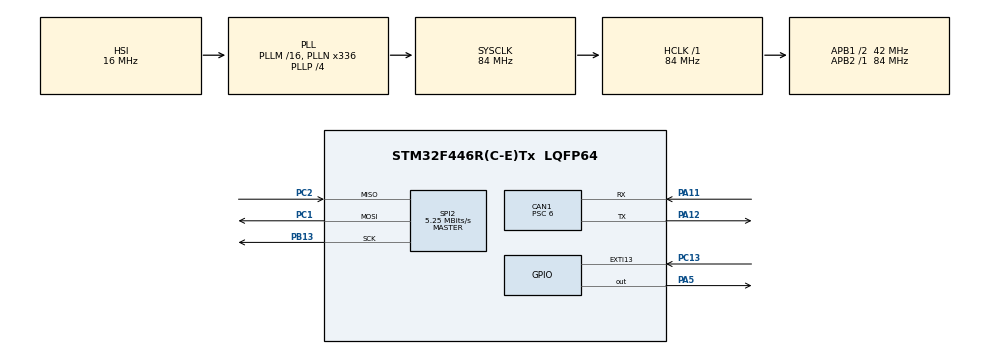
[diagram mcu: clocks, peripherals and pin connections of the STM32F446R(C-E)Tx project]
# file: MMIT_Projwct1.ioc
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CAN1.BS1=CAN_BS1_11TQ
CAN1.BS2=CAN_BS2_2TQ
CAN1.CalculateBaudRate=500000
CAN1.CalculateTimeBit=2000
CAN1.CalculateTimeQuantum=142.85714285714286
CAN1.NART=ENABLE
CAN1.Prescaler=6
Mcu.Family=STM32F4
Mcu.Name=STM32F446R(C-E)Tx
Mcu.Package=LQFP64
NUCLEO-F446RE.BUTTON=1
NUCLEO-F446RE.LD1=true
NVIC.CAN1_RX0_IRQn=true\:0\:0\:false\:false\:true\:true\:true\:true
NVIC.EXTI15_10_IRQn=true\:0\:0\:false\:false\:true\:false\:true\:true
NVIC.PriorityGroup=NVIC_PRIORITYGROUP_0
PA11.Mode=CAN_Activate
PA11.Signal=CAN1_RX
PA12.Mode=CAN_Activate
PA12.Signal=CAN1_TX
PA13.GPIO_Label=TMS
PA13.Signal=SYS_JTMS-SWDIO
PA14.GPIO_Label=TCK
PA14.Signal=SYS_JTCK-SWCLK
PA2.GPIO_Label=USART_TX
PA2.Signal=USART2_TX
PA3.GPIO_Label=USART_RX
PA3.Signal=USART2_RX
PA5.Signal=GPIO_Output
PB13.Mode=Full_Duplex_Master
PB13.Signal=SPI2_SCK
PB3.GPIO_Label=SWO
PB3.Signal=SYS_JTDO-SWO
PC1.Mode=Full_Duplex_Master
PC1.Signal=SPI2_MOSI
PC13.Signal=GPXTI13
PC14-OSC32_IN.Signal=RCC_OSC32_IN
PC15-OSC32_OUT.Signal=RCC_OSC32_OUT
PC2.Mode=Full_Duplex_Master
PC2.Signal=SPI2_MISO
PH0-OSC_IN.Signal=RCC_OSC_IN
PH1-OSC_OUT.Signal=RCC_OSC_OUT
ProjectManager.HeapSize=0x200
ProjectManager.StackSize=0x400
ProjectManager.TargetToolchain=STM32CubeIDE
RCC.AHBFreq_Value=84000000
RCC.APB1CLKDivider=RCC_HCLK_DIV2
RCC.APB1Freq_Value=42000000
RCC.APB1TimFreq_Value=84000000
RCC.APB2Freq_Value=84000000
RCC.APB2TimFreq_Value=84000000
RCC.CortexFreq_Value=84000000
RCC.FLatency-AdvancedSettings=FLASH_LATENCY_2
RCC.HCLKFreq_Value=84000000
RCC.HSE_VALUE=8000000
RCC.HSI_VALUE=16000000
RCC.LSE_VALUE=32768
RCC.PLLN=336
RCC.PLLP=RCC_PLLP_DIV4
RCC.SYSCLKFreq_VALUE=84000000
RCC.SYSCLKSource=RCC_SYSCLKSOURCE_PLLCLK
RCC.USBFreq_Value=168000000
RCC.VCOOutputFreq_Value=336000000
SPI2.BaudRatePrescaler=SPI_BAUDRATEPRESCALER_8
SPI2.CalculateBaudRate=5.25 MBits/s
SPI2.Direction=SPI_DIRECTION_2LINES
SPI2.Mode=SPI_MODE_MASTER
SPI2.VirtualType=VM_MASTER
VP_NUCLEO-F446RE_VS_BSP_COMMON.Mode=COMMON
board=NUCLEO-F446RE

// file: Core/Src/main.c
/* USER CODE BEGIN Header */
/**
  ******************************************************************************
  * @file           : main.c
  * @brief          : Main program body
  ******************************************************************************
  * @attention
  *
  * Copyright (c) 2026 STMicroelectronics.
  * All rights reserved.
  *
  * This software is licensed under terms that can be found in the LICENSE file
  * in the root directory of this software component.
  * If no LICENSE file comes with this software, it is provided AS-IS.
  *
  ******************************************************************************
  */
/* USER CODE END Header */
#include "main.h"

/* USER CODE BEGIN Includes */
#include "ILI9341.h"
#include <stdio.h>

/* USER CODE END Includes */

CAN_HandleTypeDef hcan1;

SPI_HandleTypeDef hspi2;

void SystemClock_Config(void);
static void MX_GPIO_Init(void);
static void MX_CAN1_Init(void);
static void MX_SPI2_Init(void);

/* USER CODE BEGIN 0 */
/* USER CODE BEGIN 0 */

CAN_FilterTypeDef canFilter;
CAN_RxHeaderTypeDef RxHeader;
uint8_t RxData[8];

volatile uint16_t rpm = 0;
volatile uint16_t speed = 0;
volatile uint8_t temperature = 0;
volatile uint8_t fuel = 0;
volatile uint8_t humidity = 0;

volatile uint32_t can_message_count = 0;
volatile uint8_t can_received = 0;

char rpm_str[20];
char speed_str[20];
char temp_str[20];
char fuel_str[20];

/* USER CODE END 0 */

int main(void)
{

  /* MCU Configuration--------------------------------------------------------*/

  /* Reset of all peripherals, Initializes the Flash interface and the Systick. */
  HAL_Init();

  /* Configure the system clock */
  SystemClock_Config();

  /* Initialize all configured peripherals */
  MX_GPIO_Init();
  MX_CAN1_Init();
  MX_SPI2_Init();
  /* USER CODE BEGIN 2 */
  /* USER CODE BEGIN 2 */

  /* CAN FILTER - ACCEPT ALL MESSAGES */

  canFilter.FilterBank = 0;
  canFilter.FilterMode = CAN_FILTERMODE_IDMASK;
  canFilter.FilterScale = CAN_FILTERSCALE_32BIT;

  canFilter.FilterIdHigh = 0x0000;
  canFilter.FilterIdLow = 0x0000;

  canFilter.FilterMaskIdHigh = 0x0000;
  canFilter.FilterMaskIdLow = 0x0000;

  canFilter.FilterFIFOAssignment = CAN_RX_FIFO0;
  canFilter.FilterActivation = ENABLE;

  canFilter.SlaveStartFilterBank = 14;

  if (HAL_CAN_ConfigFilter(&hcan1, &canFilter) != HAL_OK)
  {
      Error_Handler();
  }

  /* START CAN */

  if (HAL_CAN_Start(&hcan1) != HAL_OK)
  {
      Error_Handler();
  }
  ILI9341_Init();
  ILI9341_FillScreen(BLACK);

  ILI9341_DrawString(20, 20,
                     "CAN DASHBOARD",
                     GREEN, BLACK, 2);

  ILI9341_DrawString(20, 70,
                     "RPM:",
                     WHITE, BLACK, 2);

  ILI9341_DrawString(20, 120,
                     "SPEED:",
                     WHITE, BLACK, 2);

  ILI9341_DrawString(20, 170,
                     "TEMP:",
                     WHITE, BLACK, 2);

  ILI9341_DrawString(20, 220,
                     "FUEL:",
                     WHITE, BLACK, 2);
  /* USER CODE END 2 */

  /* Initialize leds */
  BSP_LED_Init(LED2);

  /* Initialize USER push-button, will be used to trigger an interrupt each time it's pressed.*/
  BSP_PB_Init(BUTTON_USER, BUTTON_MODE_EXTI);

  /* Infinite loop */
  /* USER CODE BEGIN WHILE */
  while (1)
  {
      /* ================= CAN RECEIVE ================= */

      if (HAL_CAN_GetRxFifoFillLevel(&hcan1, CAN_RX_FIFO0) > 0)
      {
          if (HAL_CAN_GetRxMessage(&hcan1,
                                   CAN_RX_FIFO0,
                                   &RxHeader,
                                   RxData) == HAL_OK)
          {
              if (RxHeader.StdId == 0x100 && RxHeader.DLC == 8)
              {
                  rpm = ((uint16_t)RxData[0] << 8) | RxData[1];

                  speed = ((uint16_t)RxData[2] << 8) | RxData[3];

                  temperature = RxData[4];

                  fuel = RxData[5];

                  humidity = RxData[6];

                  can_message_count++;
                  can_received = 1;
              }
          }
      }

      /* ================= DISPLAY VALUES ================= */

      char buf[20];

      /* RPM */
      ILI9341_FillRect(100, 65, 130, 30, BLACK);

      snprintf(buf, sizeof(buf), "%u", rpm);

      ILI9341_DrawString(100, 70,
                         buf,
                         YELLOW, BLACK, 2);

      /* SPEED */
      ILI9341_FillRect(100, 115, 130, 30, BLACK);

      snprintf(buf, sizeof(buf), "%u km/h", speed);

      ILI9341_DrawString(100, 120,
                         buf,
                         CYAN, BLACK, 2);

      /* TEMPERATURE */
      ILI9341_FillRect(100, 165, 130, 30, BLACK);

      snprintf(buf, sizeof(buf), "%u C", temperature);

      ILI9341_DrawString(100, 170,
                         buf,
                         RED, BLACK, 2);

      /* FUEL */
      ILI9341_FillRect(100, 215, 130, 30, BLACK);

      snprintf(buf, sizeof(buf), "%u %%", fuel);

      ILI9341_DrawString(100, 220,
                         buf,
                         GREEN, BLACK, 2);

      HAL_Delay(200);
  }

}

void SystemClock_Config(void)
{
  RCC_OscInitTypeDef RCC_OscInitStruct = {0};
  RCC_ClkInitTypeDef RCC_ClkInitStruct = {0};

  /** Configure the main internal regulator output voltage
  */
  __HAL_RCC_PWR_CLK_ENABLE();
  __HAL_PWR_VOLTAGESCALING_CONFIG(PWR_REGULATOR_VOLTAGE_SCALE3);

  /** Initializes the RCC Oscillators according to the specified parameters
  * in the RCC_OscInitTypeDef structure.
  */
  RCC_OscInitStruct.OscillatorType = RCC_OSCILLATORTYPE_HSI;
  RCC_OscInitStruct.HSIState = RCC_HSI_ON;
  RCC_OscInitStruct.HSICalibrationValue = RCC_HSICALIBRATION_DEFAULT;
  RCC_OscInitStruct.PLL.PLLState = RCC_PLL_ON;
  RCC_OscInitStruct.PLL.PLLSource = RCC_PLLSOURCE_HSI;
  RCC_OscInitStruct.PLL.PLLM = 16;
  RCC_OscInitStruct.PLL.PLLN = 336;
  RCC_OscInitStruct.PLL.PLLP = RCC_PLLP_DIV4;
  RCC_OscInitStruct.PLL.PLLQ = 2;
  RCC_OscInitStruct.PLL.PLLR = 2;
  if (HAL_RCC_OscConfig(&RCC_OscInitStruct) != HAL_OK)
  {
    Error_Handler();
  }

  /** Initializes the CPU, AHB and APB buses clocks
  */
  RCC_ClkInitStruct.ClockType = RCC_CLOCKTYPE_HCLK|RCC_CLOCKTYPE_SYSCLK
                              |RCC_CLOCKTYPE_PCLK1|RCC_CLOCKTYPE_PCLK2;
  RCC_ClkInitStruct.SYSCLKSource = RCC_SYSCLKSOURCE_PLLCLK;
  RCC_ClkInitStruct.AHBCLKDivider = RCC_SYSCLK_DIV1;
  RCC_ClkInitStruct.APB1CLKDivider = RCC_HCLK_DIV2;
  RCC_ClkInitStruct.APB2CLKDivider = RCC_HCLK_DIV1;

  if (HAL_RCC_ClockConfig(&RCC_ClkInitStruct, FLASH_LATENCY_2) != HAL_OK)
  {
    Error_Handler();
  }
}

static void MX_CAN1_Init(void)
{

  hcan1.Instance = CAN1;
  hcan1.Init.Prescaler = 6;
  hcan1.Init.Mode = CAN_MODE_NORMAL;
  hcan1.Init.SyncJumpWidth = CAN_SJW_1TQ;
  hcan1.Init.TimeSeg1 = CAN_BS1_11TQ;
  hcan1.Init.TimeSeg2 = CAN_BS2_2TQ;
  hcan1.Init.TimeTriggeredMode = DISABLE;
  hcan1.Init.AutoBusOff = DISABLE;
  hcan1.Init.AutoWakeUp = DISABLE;
  hcan1.Init.AutoRetransmission = ENABLE;
  hcan1.Init.ReceiveFifoLocked = DISABLE;
  hcan1.Init.TransmitFifoPriority = DISABLE;
  if (HAL_CAN_Init(&hcan1) != HAL_OK)
  {
    Error_Handler();
  }

}

static void MX_SPI2_Init(void)
{

  /* SPI2 parameter configuration*/
  hspi2.Instance = SPI2;
  hspi2.Init.Mode = SPI_MODE_MASTER;
  hspi2.Init.Direction = SPI_DIRECTION_2LINES;
  hspi2.Init.DataSize = SPI_DATASIZE_8BIT;
  hspi2.Init.CLKPolarity = SPI_POLARITY_LOW;
  hspi2.Init.CLKPhase = SPI_PHASE_1EDGE;
  hspi2.Init.NSS = SPI_NSS_SOFT;
  hspi2.Init.BaudRatePrescaler = SPI_BAUDRATEPRESCALER_8;
  hspi2.Init.FirstBit = SPI_FIRSTBIT_MSB;
  hspi2.Init.TIMode = SPI_TIMODE_DISABLE;
  hspi2.Init.CRCCalculation = SPI_CRCCALCULATION_DISABLE;
  hspi2.Init.CRCPolynomial = 10;
  if (HAL_SPI_Init(&hspi2) != HAL_OK)
  {
    Error_Handler();
  }

}

static void MX_GPIO_Init(void)
{
  GPIO_InitTypeDef GPIO_InitStruct = {0};

  /* GPIO Ports Clock Enable */
  __HAL_RCC_GPIOC_CLK_ENABLE();
  __HAL_RCC_GPIOH_CLK_ENABLE();
  __HAL_RCC_GPIOA_CLK_ENABLE();
  __HAL_RCC_GPIOB_CLK_ENABLE();

  /*Configure GPIO pins : USART_TX_Pin USART_RX_Pin */
  GPIO_InitStruct.Pin = USART_TX_Pin|USART_RX_Pin;
  GPIO_InitStruct.Mode = GPIO_MODE_AF_PP;
  GPIO_InitStruct.Pull = GPIO_NOPULL;
  GPIO_InitStruct.Speed = GPIO_SPEED_FREQ_VERY_HIGH;
  GPIO_InitStruct.Alternate = GPIO_AF7_USART2;
  HAL_GPIO_Init(GPIOA, &GPIO_InitStruct);

  /* USER CODE BEGIN MX_GPIO_Init_2 */
  /* ================= TFT CONTROL PINS ================= */

    /* CS = PB12
       DC = PB10
       RESET = PB2
    */
    GPIO_InitStruct.Pin = GPIO_PIN_12 | GPIO_PIN_10 | GPIO_PIN_2;
    GPIO_InitStruct.Mode = GPIO_MODE_OUTPUT_PP;
    GPIO_InitStruct.Pull = GPIO_NOPULL;
    GPIO_InitStruct.Speed = GPIO_SPEED_FREQ_VERY_HIGH;

    HAL_GPIO_Init(GPIOB, &GPIO_InitStruct);

    /* Initial states */
    HAL_GPIO_WritePin(GPIOB, GPIO_PIN_12, GPIO_PIN_SET);   // CS HIGH
    HAL_GPIO_WritePin(GPIOB, GPIO_PIN_10, GPIO_PIN_SET);   // DC HIGH
    HAL_GPIO_WritePin(GPIOB, GPIO_PIN_2, GPIO_PIN_SET);    // RESET HIGH

  /* USER CODE END MX_GPIO_Init_2 */
}

void Error_Handler(void)
{
  __disable_irq();
  while (1)
  {
  }
}
